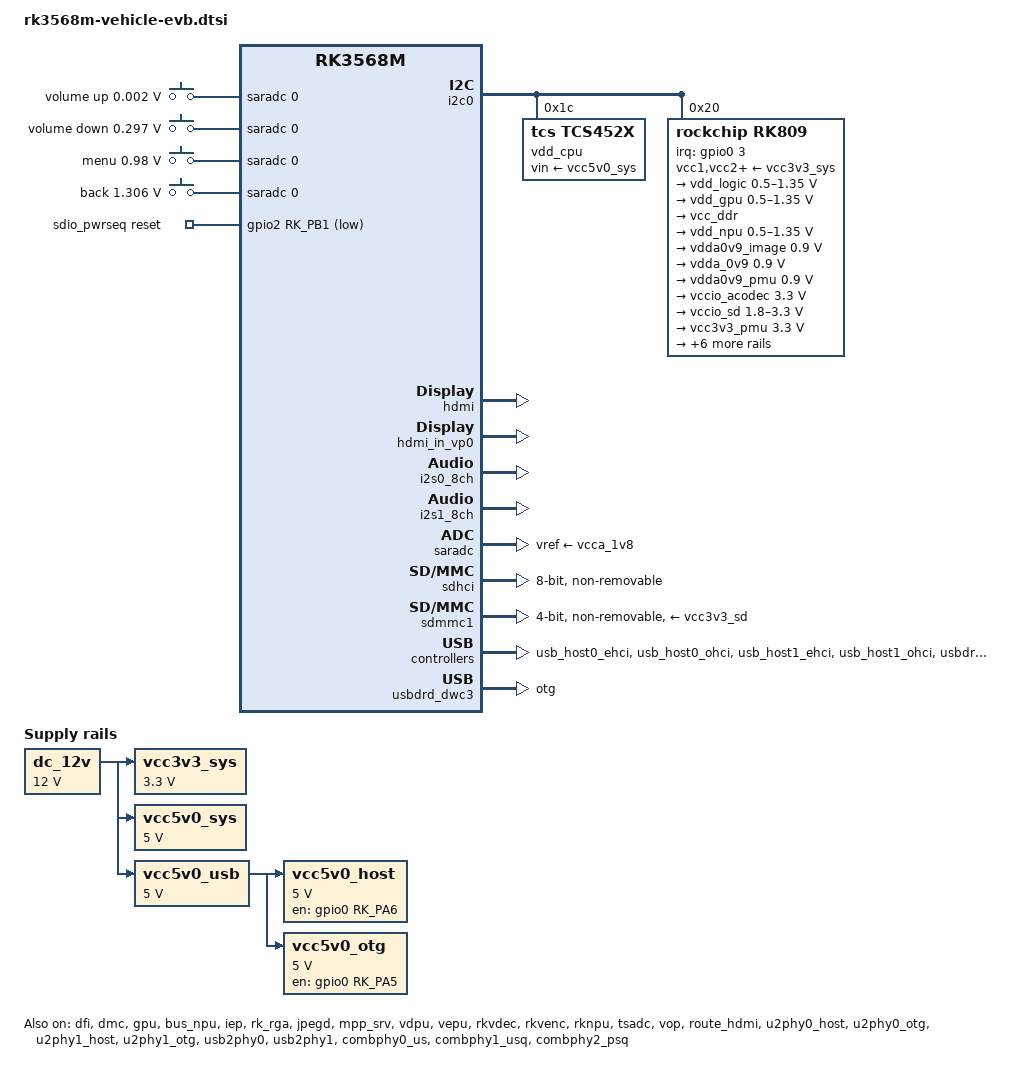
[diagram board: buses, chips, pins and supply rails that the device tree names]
// SPDX-License-Identifier: (GPL-2.0+ OR MIT)
/*
 * Copyright (c) 2020 Rockchip Electronics Co., Ltd.
 *
 */

#include <dt-bindings/gpio/gpio.h>
#include <dt-bindings/pwm/pwm.h>
#include <dt-bindings/pinctrl/rockchip.h>
#include <dt-bindings/input/rk-input.h>
#include <dt-bindings/display/drm_mipi_dsi.h>
#include <dt-bindings/sensor-dev.h>

/ {

	adc_keys: adc-keys {
		compatible = "adc-keys";
		io-channels = <&saradc 0>;
		io-channel-names = "buttons";
		keyup-threshold-microvolt = <1800000>;
		poll-interval = <100>;

		vol-up-key {
			label = "volume up";
			linux,code = <KEY_VOLUMEUP>;
			press-threshold-microvolt = <1750>;
		};

		vol-down-key {
			label = "volume down";
			linux,code = <KEY_VOLUMEDOWN>;
			press-threshold-microvolt = <297500>;
		};

		menu-key {
			label = "menu";
			linux,code = <KEY_MENU>;
			press-threshold-microvolt = <980000>;
		};

		back-key {
			label = "back";
			linux,code = <KEY_BACK>;
			press-threshold-microvolt = <1305500>;
		};
	};

	dc_12v: dc-12v {
		compatible = "regulator-fixed";
		regulator-name = "dc_12v";
		regulator-always-on;
		regulator-boot-on;
		regulator-min-microvolt = <12000000>;
		regulator-max-microvolt = <12000000>;
	};

	vcc3v3_sys: vcc3v3-sys {
		compatible = "regulator-fixed";
		regulator-name = "vcc3v3_sys";
		regulator-always-on;
		regulator-boot-on;
		regulator-min-microvolt = <3300000>;
		regulator-max-microvolt = <3300000>;
		startup-delay-us = <1200>;
		off-on-delay-us = <80>;
		vin-supply = <&dc_12v>;
	};

	vcc5v0_sys: vcc5v0-sys {
		compatible = "regulator-fixed";
		regulator-name = "vcc5v0_sys";
		regulator-always-on;
		regulator-boot-on;
		regulator-min-microvolt = <5000000>;
		regulator-max-microvolt = <5000000>;
		startup-delay-us = <1200>;
		off-on-delay-us = <80>;
		vin-supply = <&dc_12v>;
	};

	vcc5v0_usb: vcc5v0-usb {
		compatible = "regulator-fixed";
		regulator-name = "vcc5v0_usb";
		regulator-always-on;
		regulator-boot-on;
		regulator-min-microvolt = <5000000>;
		regulator-max-microvolt = <5000000>;
		startup-delay-us = <1200>;
		off-on-delay-us = <80>;
		vin-supply = <&dc_12v>;
	};

	vcc5v0_host: vcc5v0-host-regulator {
		compatible = "regulator-fixed";
		regulator-name = "vcc5v0_host";
		regulator-boot-on;
		regulator-always-on;
		regulator-min-microvolt = <5000000>;
		regulator-max-microvolt = <5000000>;
		enable-active-high;
		gpio = <&gpio0 RK_PA6 GPIO_ACTIVE_HIGH>;
		vin-supply = <&vcc5v0_usb>;
		pinctrl-names = "default";
		pinctrl-0 = <&vcc5v0_host_en>;
		startup-delay-us = <80>;
		off-on-delay-us = <300>;
	};

	vcc5v0_otg: vcc5v0-otg-regulator {
		compatible = "regulator-fixed";
		regulator-name = "vcc5v0_otg";
		regulator-min-microvolt = <5000000>;
		regulator-max-microvolt = <5000000>;
		enable-active-high;
		gpio = <&gpio0 RK_PA5 GPIO_ACTIVE_HIGH>;
		vin-supply = <&vcc5v0_usb>;
		pinctrl-names = "default";
		pinctrl-0 = <&vcc5v0_otg_en>;
		startup-delay-us = <80>;
		off-on-delay-us = <300>;
	};

	rk809_sound: rk809-sound {
		status = "okay";
		compatible = "simple-audio-card";
		simple-audio-card,format = "i2s";
		simple-audio-card,name = "rockchip,rk809-codec";
		simple-audio-card,mclk-fs = <256>;

		simple-audio-card,cpu {
			sound-dai = <&i2s1_8ch>;
		};
		simple-audio-card,codec {
			sound-dai = <&rk809_codec>;
		};
	};

	hdmi_sound: hdmi-sound {
		status = "disabled";
		compatible = "rockchip,hdmi";
		rockchip,mclk-fs = <128>;
		rockchip,card-name = "rockchip,hdmi";
		rockchip,cpu = <&i2s0_8ch>;
		rockchip,codec = <&hdmi>;
	};

	sdio_pwrseq: sdio-pwrseq {
		compatible = "mmc-pwrseq-simple";
		clocks = <&pmucru CLK_RTC_32K>;
		pinctrl-0 = <&wifi_enable_h &wifi_32k>;
		pinctrl-names = "default";

		/*
		 * On the module itself this is one of these (depending
		 * on the actual card populated):
		 * - SDIO_RESET_L_WL_REG_ON
		 * - PDN (power down when low)
		 */
		post-power-on-delay-ms = <200>;
		reset-gpios = <&gpio2 RK_PB1 GPIO_ACTIVE_LOW>;
	};

	test-power {
		status = "okay";
	};
};

&cpu0 {
	cpu-supply = <&vdd_cpu>;
};

&dfi {
	status = "okay";
};

&dmc {
	center-supply = <&vdd_logic>;
	status = "okay";
};

&gpu {
	mali-supply = <&vdd_gpu>;
	status = "okay";
};

&bus_npu {
	bus-supply = <&vdd_logic>;
	pvtm-supply = <&vdd_cpu>;
	status = "okay";
};

&iep {
	status = "okay";
};

&iep_mmu {
	status = "okay";
};

&rk_rga {
	status = "okay";
};

&jpegd {
	status = "okay";
};

&jpegd_mmu {
	status = "okay";
};

&mpp_srv {
	status = "okay";
};

&vdpu {
	status = "okay";
};

&vdpu_mmu {
	status = "okay";
};

&vepu {
	status = "okay";
};

&vepu_mmu {
	status = "okay";
};

&rkvdec {
	status = "okay";
};

&rkvdec_mmu {
	status = "okay";
};

&rkvenc {
	venc-supply = <&vdd_logic>;
	status = "okay";
};

&rkvenc_mmu {
	status = "okay";
};

&rknpu {
	rknpu-supply = <&vdd_npu>;
	status = "okay";
};

&rknpu_mmu {
	status = "okay";
};

&tsadc {
	status = "okay";
};

&vop {
	status = "okay";
	assigned-clocks = <&cru DCLK_VOP0>, <&cru DCLK_VOP1>;
	assigned-clock-parents = <&pmucru PLL_HPLL>, <&cru PLL_VPLL>;
};

&vop_mmu {
	status = "okay";
};

&i2c0 {
	status = "okay";

	vdd_cpu: tcs4525@1c {
		compatible = "tcs,tcs452x";
		reg = <0x1c>;
		vin-supply = <&vcc5v0_sys>;
		regulator-compatible = "fan53555-reg";
		regulator-name = "vdd_cpu";
		regulator-min-microvolt = <712500>;
		regulator-max-microvolt = <1390000>;
		regulator-init-microvolt = <900000>;
		regulator-ramp-delay = <2300>;
		fcs,suspend-voltage-selector = <1>;
		regulator-boot-on;
		regulator-always-on;
		regulator-state-mem {
			regulator-off-in-suspend;
		};
	};

	rk809: pmic@20 {
		compatible = "rockchip,rk809";
		reg = <0x20>;
		interrupt-parent = <&gpio0>;
		interrupts = <3 IRQ_TYPE_LEVEL_LOW>;

		pinctrl-names = "default", "pmic-sleep",
				"pmic-power-off", "pmic-reset";
		pinctrl-0 = <&pmic_int>;
		pinctrl-1 = <&soc_slppin_slp>, <&rk817_slppin_slp>;
		pinctrl-2 = <&soc_slppin_gpio>, <&rk817_slppin_pwrdn>;
		pinctrl-3 = <&soc_slppin_gpio>, <&rk817_slppin_rst>;

		rockchip,system-power-controller;
		wakeup-source;
		#clock-cells = <1>;
		clock-output-names = "rk808-clkout1", "rk808-clkout2";
		//fb-inner-reg-idxs = <2>;
		/* 1: rst regs (default in codes), 0: rst the pmic */
		pmic-reset-func = <0>;
		/* not save the PMIC_POWER_EN register in uboot */
		not-save-power-en = <1>;

		vcc1-supply = <&vcc3v3_sys>;
		vcc2-supply = <&vcc3v3_sys>;
		vcc3-supply = <&vcc3v3_sys>;
		vcc4-supply = <&vcc3v3_sys>;
		vcc5-supply = <&vcc3v3_sys>;
		vcc6-supply = <&vcc3v3_sys>;
		vcc7-supply = <&vcc3v3_sys>;
		vcc8-supply = <&vcc3v3_sys>;
		vcc9-supply = <&vcc3v3_sys>;

		pwrkey {
			status = "okay";
		};

		pinctrl_rk8xx: pinctrl_rk8xx {
			gpio-controller;
			#gpio-cells = <2>;

			rk817_slppin_null: rk817_slppin_null {
				pins = "gpio_slp";
				function = "pin_fun0";
			};

			rk817_slppin_slp: rk817_slppin_slp {
				pins = "gpio_slp";
				function = "pin_fun1";
			};

			rk817_slppin_pwrdn: rk817_slppin_pwrdn {
				pins = "gpio_slp";
				function = "pin_fun2";
			};

			rk817_slppin_rst: rk817_slppin_rst {
				pins = "gpio_slp";
				function = "pin_fun3";
			};
		};

		regulators {
			vdd_logic: DCDC_REG1 {
				regulator-always-on;
				regulator-boot-on;
				regulator-min-microvolt = <500000>;
				regulator-max-microvolt = <1350000>;
				regulator-init-microvolt = <900000>;
				regulator-ramp-delay = <6001>;
				regulator-initial-mode = <0x2>;
				regulator-name = "vdd_logic";
				regulator-state-mem {
					regulator-off-in-suspend;
				};
			};

			vdd_gpu: DCDC_REG2 {
				regulator-always-on;
				regulator-boot-on;
				regulator-min-microvolt = <500000>;
				regulator-max-microvolt = <1350000>;
				regulator-init-microvolt = <900000>;
				regulator-ramp-delay = <6001>;
				regulator-initial-mode = <0x2>;
				regulator-name = "vdd_gpu";
				regulator-state-mem {
					regulator-off-in-suspend;
				};
			};

			vcc_ddr: DCDC_REG3 {
				regulator-always-on;
				regulator-boot-on;
				regulator-initial-mode = <0x2>;
				regulator-name = "vcc_ddr";
				regulator-state-mem {
					regulator-on-in-suspend;
				};
			};

			vdd_npu: DCDC_REG4 {
				regulator-always-on;
				regulator-boot-on;
				regulator-min-microvolt = <500000>;
				regulator-max-microvolt = <1350000>;
				regulator-init-microvolt = <900000>;
				regulator-ramp-delay = <6001>;
				regulator-initial-mode = <0x2>;
				regulator-name = "vdd_npu";
				regulator-state-mem {
					regulator-off-in-suspend;
				};
			};

			vdda0v9_image: LDO_REG1 {
				regulator-boot-on;
				regulator-always-on;
				regulator-min-microvolt = <900000>;
				regulator-max-microvolt = <900000>;
				regulator-name = "vdda0v9_image";
				regulator-state-mem {
					regulator-off-in-suspend;
				};
			};

			vdda_0v9: LDO_REG2 {
				regulator-always-on;
				regulator-boot-on;
				regulator-min-microvolt = <900000>;
				regulator-max-microvolt = <900000>;
				regulator-name = "vdda_0v9";
				regulator-state-mem {
					regulator-off-in-suspend;
				};
			};

			vdda0v9_pmu: LDO_REG3 {
				regulator-always-on;
				regulator-boot-on;
				regulator-min-microvolt = <900000>;
				regulator-max-microvolt = <900000>;
				regulator-name = "vdda0v9_pmu";
				regulator-state-mem {
					regulator-on-in-suspend;
					regulator-suspend-microvolt = <900000>;
				};
			};

			vccio_acodec: LDO_REG4 {
				regulator-always-on;
				regulator-boot-on;
				regulator-min-microvolt = <3300000>;
				regulator-max-microvolt = <3300000>;
				regulator-name = "vccio_acodec";
				regulator-state-mem {
					regulator-off-in-suspend;
				};
			};

			vccio_sd: LDO_REG5 {
				regulator-always-on;
				regulator-boot-on;
				regulator-min-microvolt = <1800000>;
				regulator-max-microvolt = <3300000>;
				regulator-name = "vccio_sd";
				regulator-state-mem {
					regulator-off-in-suspend;
				};
			};

			vcc3v3_pmu: LDO_REG6 {
				regulator-always-on;
				regulator-boot-on;
				regulator-min-microvolt = <3300000>;
				regulator-max-microvolt = <3300000>;
				regulator-name = "vcc3v3_pmu";
				regulator-state-mem {
					regulator-on-in-suspend;
					regulator-suspend-microvolt = <3300000>;
				};
			};

			vcca_1v8: LDO_REG7 {
				regulator-always-on;
				regulator-boot-on;
				regulator-min-microvolt = <1800000>;
				regulator-max-microvolt = <1800000>;
				regulator-name = "vcca_1v8";
				regulator-state-mem {
					regulator-off-in-suspend;
				};
			};

			vcca1v8_pmu: LDO_REG8 {
				regulator-always-on;
				regulator-boot-on;
				regulator-min-microvolt = <1800000>;
				regulator-max-microvolt = <1800000>;
				regulator-name = "vcca1v8_pmu";
				regulator-state-mem {
					regulator-on-in-suspend;
					regulator-suspend-microvolt = <1800000>;
				};
			};

			vcca1v8_image: LDO_REG9 {
				regulator-always-on;
				regulator-boot-on;
				regulator-min-microvolt = <1800000>;
				regulator-max-microvolt = <1800000>;
				regulator-name = "vcca1v8_image";
				regulator-state-mem {
					regulator-off-in-suspend;
				};
			};

			vcc_1v8: DCDC_REG5 {
				regulator-always-on;
				regulator-boot-on;
				regulator-min-microvolt = <1800000>;
				regulator-max-microvolt = <1800000>;
				regulator-name = "vcc_1v8";
				regulator-state-mem {
					regulator-off-in-suspend;
				};
			};

			vcc_3v3: SWITCH_REG1 {
				regulator-always-on;
				regulator-boot-on;
				regulator-name = "vcc_3v3";
				regulator-state-mem {
					regulator-off-in-suspend;
				};
			};

			vcc3v3_sd: SWITCH_REG2 {
				regulator-always-on;
				regulator-boot-on;
				regulator-name = "vcc3v3_sd";
				regulator-state-mem {
					regulator-off-in-suspend;
				};
			};
		};

		rk809_codec: codec {
			#sound-dai-cells = <0>;
			compatible = "rockchip,rk809-codec", "rockchip,rk817-codec";
			clocks = <&cru I2S1_MCLKOUT>;
			clock-names = "mclk";
			assigned-clocks = <&cru I2S1_MCLKOUT>, <&cru I2S1_MCLK_TX_IOE>;
			assigned-clock-rates = <12288000>;
			assigned-clock-parents = <&cru I2S1_MCLKOUT_TX>, <&cru I2S1_MCLKOUT_TX>;
			pinctrl-names = "default";
			pinctrl-0 = <&i2s1m0_mclk>;
			hp-volume = <20>;
			spk-volume = <3>;
			mic-in-differential;
			status = "okay";
		};
	};
};

&can0 {
	assigned-clocks = <&cru CLK_CAN0>;
	assigned-clock-rates = <150000000>;
	pinctrl-names = "default";
	pinctrl-0 = <&can0m1_pins>;
	status = "disabled";
};

&can1 {
	assigned-clocks = <&cru CLK_CAN1>;
	assigned-clock-rates = <150000000>;
	pinctrl-names = "default";
	pinctrl-0 = <&can1m1_pins>;
	status = "disabled";
};

&can2 {
	assigned-clocks = <&cru CLK_CAN2>;
	assigned-clock-rates = <150000000>;
	pinctrl-names = "default";
	pinctrl-0 = <&can2m0_pins>;
	status = "disabled";
};

&hdmi {
	status = "okay";
	rockchip,phy-table =
		<92812500  0x8009 0x0000 0x0270>,
		<165000000 0x800b 0x0000 0x026d>,
		<185625000 0x800b 0x0000 0x01ed>,
		<297000000 0x800b 0x0000 0x01ad>,
		<594000000 0x8029 0x0000 0x0088>,
		<000000000 0x0000 0x0000 0x0000>;
};

&hdmi_in_vp0 {
	status = "okay";
};

&hdmi_in_vp1 {
	status = "disabled";
};

&hdmi_sound {
	status = "okay";
};

&i2s0_8ch {
	status = "okay";
};

&i2s1_8ch {
	status = "okay";
	rockchip,clk-trcm = <1>;
	pinctrl-names = "default";
	pinctrl-0 = <&i2s1m0_sclktx
		     &i2s1m0_lrcktx
		     &i2s1m0_sdi0
		     &i2s1m0_sdo0>;
};

&vad {
	rockchip,audio-src = <&i2s1_8ch>;
	rockchip,buffer-time-ms = <128>;
	rockchip,det-channel = <0>;
	rockchip,mode = <0>;
};


&pinctrl {
	pmic {
		pmic_int: pmic_int {
			rockchip,pins =
				<0 RK_PA3 RK_FUNC_GPIO &pcfg_pull_up>;
		};

		soc_slppin_gpio: soc_slppin_gpio {
			rockchip,pins =
				<0 RK_PA2 RK_FUNC_GPIO &pcfg_output_low_pull_down>;
		};

		soc_slppin_slp: soc_slppin_slp {
			rockchip,pins =
				<0 RK_PA2 1 &pcfg_pull_up>;
		};

		soc_slppin_rst: soc_slppin_rst {
			rockchip,pins =
				<0 RK_PA2 2 &pcfg_pull_none>;
		};
	};

	usb {
		vcc5v0_host_en: vcc5v0-host-en {
			rockchip,pins = <0 RK_PA6 RK_FUNC_GPIO &pcfg_pull_none>;
		};

		vcc5v0_otg_en: vcc5v0-otg-en {
			rockchip,pins = <0 RK_PA5 RK_FUNC_GPIO &pcfg_pull_none>;
		};
	};

	sdio-pwrseq {
		wifi_enable_h: wifi-enable-h {
			rockchip,pins = <2 RK_PB1 RK_FUNC_GPIO &pcfg_pull_none>;
		};

		wifi_32k: wifi-32k {
			rockchip,pins = <2 RK_PC6 1 &pcfg_pull_none>;
		};
	};

	wireless-wlan {
		wifi_host_wake_irq: wifi-host-wake-irq {
			rockchip,pins = <2 RK_PB2 RK_FUNC_GPIO &pcfg_pull_down>;
		};
	};

	wireless-bluetooth {
		uart1_gpios: uart1-gpios {
			rockchip,pins = <2 RK_PB5 RK_FUNC_GPIO &pcfg_pull_none>;
		};
	};
};

 /*
  * There are 10 independent IO domains in RK3566/RK3568, including PMUIO[0:2] and VCCIO[1:7].
  * 1/ PMUIO0 and PMUIO1 are fixed-level power domains which cannot be configured;
  * 2/ PMUIO2 and VCCIO1,VCCIO[3:7] domains require that their hardware power supply voltages
  *    must be consistent with the software configuration correspondingly
  *	a/ When the hardware IO level is connected to 1.8V, the software voltage configuration
  *	   should also be configured to 1.8V accordingly;
  *	b/ When the hardware IO level is connected to 3.3V, the software voltage configuration
  *	   should also be configured to 3.3V accordingly;
  * 3/ VCCIO2 voltage control selection (0xFDC20140)
  *	BIT[0]: 0x0: from GPIO_0A7 (default)
  *	BIT[0]: 0x1: from GRF
  *    Default is determined by Pin FLASH_VOL_SEL/GPIO0_A7:
  *	L:VCCIO2 must supply 3.3V
  *	H:VCCIO2 must supply 1.8V
  */
&pmu_io_domains {
	status = "okay";
	pmuio1-supply = <&vcc3v3_pmu>;
	pmuio2-supply = <&vcc3v3_pmu>;
	vccio1-supply = <&vccio_acodec>;
	vccio2-supply = <&vcc_1v8>;
	vccio3-supply = <&vccio_sd>;
	vccio4-supply = <&vcc_1v8>;
	vccio5-supply = <&vcc_3v3>;
	vccio6-supply = <&vcc_3v3>;
	vccio7-supply = <&vcc_3v3>;
};

&route_hdmi {
	status = "okay";
	connect = <&vp0_out_hdmi>;
};

&saradc {
	status = "okay";
	vref-supply = <&vcca_1v8>;
};

&sdhci {
	bus-width = <8>;
	supports-emmc;
	non-removable;
	max-frequency = <200000000>;
	status = "okay";
};

&sdmmc1 {
	max-frequency = <150000000>;
	supports-sdio;
	bus-width = <4>;
	disable-wp;
	cap-sd-highspeed;
	cap-sdio-irq;
	sd-uhs-sdr104;
	keep-power-in-suspend;
	mmc-pwrseq = <&sdio_pwrseq>;
	non-removable;
	vmmc-supply = <&vcc3v3_sd>;
	vqmmc-supply = <&vccio_sd>;
	pinctrl-names = "default";
	pinctrl-0 = <&sdmmc1_bus4 &sdmmc1_clk &sdmmc1_cmd &sdmmc1_det>;
	status = "okay";
};

&u2phy0_host {
	phy-supply = <&vcc5v0_host>;
	status = "okay";
};

&u2phy0_otg {
	vbus-supply = <&vcc5v0_otg>;
	status = "okay";
};

&u2phy1_host {
	phy-supply = <&vcc5v0_host>;
	status = "okay";
};

&u2phy1_otg {
	phy-supply = <&vcc5v0_host>;
	status = "okay";
};

&usb2phy0 {
	status = "okay";
};

&usb2phy1 {
	status = "okay";
};

&usb_host0_ehci {
	status = "okay";
};

&usb_host0_ohci {
	status = "okay";
};

&usb_host1_ehci {
	status = "okay";
};

&usb_host1_ohci {
	status = "okay";
};

&usbdrd_dwc3 {
	dr_mode = "otg";
	extcon = <&usb2phy0>;
	status = "okay";
};

&usbdrd30 {
	status = "okay";
};

&usbhost_dwc3 {
	status = "okay";
};

&usbhost30 {
	status = "okay";
};

&combphy0_us {
	status = "okay";
};

&combphy1_usq {
	status = "okay";
};

&combphy2_psq {
	status = "okay";
};
